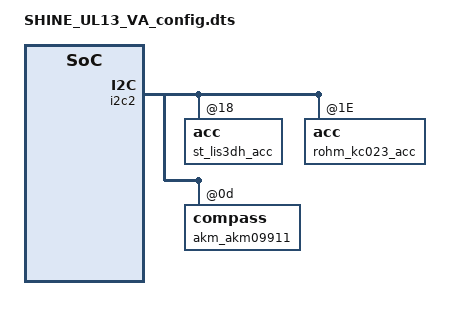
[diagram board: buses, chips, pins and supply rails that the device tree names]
/*
 *  Copyright (C) 2014 Hisilicon Ltd.
 *  Author: Bintian Wang <bintian.wang@huawei.com>
 *
 *  This program is free software; you can redistribute it and/or modify
 *  it under the terms of the GNU General Public License version 2 as
 *  publishhed by the Free Software Foundation.
 */

/dts-v1/;
/include/ "fastboot.dtsi"
/include/ "SHINE_UL10_VA_config.dtsi"
/include/ "SHINE_UL13_VA_pin.dtsi"
/include/ "SHINE_UL13_VA_gpio_logic.dtsi"
/include/ "SHINE_UL13_VA_pmic.dtsi"
/include/ "SHINE_UL13_VA_charger.dtsi"
/ {
    hisi,boardid = <0 7 6 5>;
    hisi,boardname = "SHINE_UL13_VA";
    hisi,modem_id = <0x3D351500>;
    hisi,product_name = "CHM-U23";

    boardinfo{
        factory_product_name = "HD1CHMUMCA";
        normal_product_name = "CHM-U23";
    };
	amba {
	i2c2: i2c@f7102000 {
			st_lis3dh_acc:acc@18{
				axis_map_x=<0>;
				axis_map_y=<1>;
				axis_map_z=<2>;
				negate_x=<1>;
				negate_y=<1>;
				negate_z=<0>;
				status = "ok";
			};
			rohm_kc023_acc:acc@1E{
				axis_map_x=<0>;
				axis_map_y=<1>;
				axis_map_z=<2>;
				negate_x=<1>;
				negate_y=<1>;
				negate_z=<0>;
				status = "ok";
			};
			akm_akm09911:compass@0d{
				compass_layout=<4>;
				status = "ok";
			};
		};
	};
	hi1101-power {
	    wifi_sdio_rw = "SDIO_RW_CHM_U23_FEM.bin";
	    hisi_cfg_ini_file = "/system/etc/hisi_cfg_cherry.ini";
	};
};
